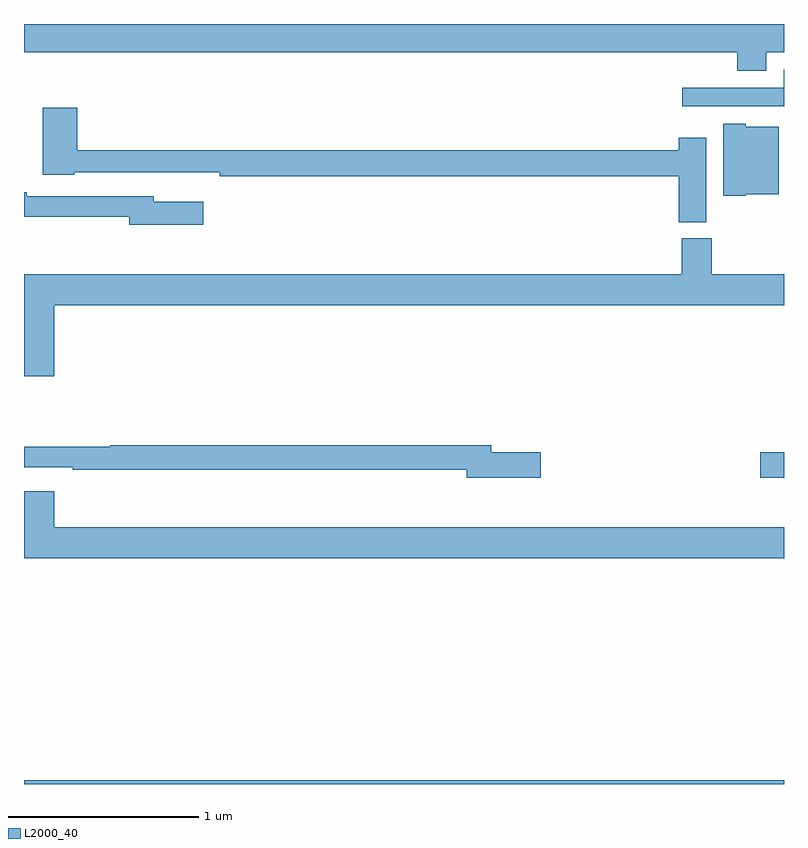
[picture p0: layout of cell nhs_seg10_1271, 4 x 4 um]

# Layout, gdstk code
import gdstk
lib = gdstk.Library(unit=1e-6, precision=1e-09)
def R(c, l, rs):  # rectangles x0, y0, x1, y1
    for r in rs: c.add(gdstk.rectangle(r[:2], r[2:], *l))
def P(c, l, *ps):  # polygons
    for p in ps: c.add(gdstk.Polygon(p, *l))
L2000_40 = (2000, 40)

nhs_seg10_1271 = lib.new_cell('nhs_seg10_1271')
R(nhs_seg10_1271, L2000_40, [(177,1260.5,181,1260.52), (180.876,1262.111,181,1262.246)])
P(nhs_seg10_1271, L2000_40, [(180.907,1264.352),(181,1264.352),(181,1264.5),(177,1264.5),(177,1264.352),(180.755,1264.352),(180.755,1264.253),(180.907,1264.253)],
  [(181,1264.26),(180.999,1264.26),(180.999,1264.164),(180.465,1264.164),(180.465,1264.068),(181,1264.068)],
  [(180.592,1263.901),(180.446,1263.901),(180.446,1263.836),(177.281,1263.836),(177.281,1264.06),(177.098,1264.06),(177.098,1263.707),(177.264,1263.707),(177.264,1263.72),(177.778,1263.72),(177.778,1263.719),(178.03,1263.719),(178.03,1263.7),(180.446,1263.7),(180.446,1263.457),(180.592,1263.457)],
  [(180.798,1263.605),(180.973,1263.605),(180.973,1263.958),(180.798,1263.958),(180.798,1263.976),(180.68,1263.976),(180.68,1263.596),(180.798,1263.596)],
  [(177.943,1263.565),(177.682,1263.565),(177.682,1263.594),(177.014,1263.594),(177.014,1263.614),(177,1263.614),(177,1263.486),(177.554,1263.486),(177.554,1263.443),(177.943,1263.443)],
  [(177.16,1263.02),(181,1263.02),(181,1263.184),(180.621,1263.184),(180.621,1263.372),(180.461,1263.372),(180.461,1263.184),(177,1263.184),(177,1262.646),(177.16,1262.646)],
  [(179.719,1262.246),(179.458,1262.246),(179.458,1262.282),(177.454,1262.282),(177.454,1262.275),(177,1262.275),(177,1262.166),(177.256,1262.166),(177.256,1262.154),(179.33,1262.154),(179.33,1262.111),(179.719,1262.111)],
  [(181,1261.852),(177.16,1261.852),(177.16,1262.041),(177,1262.041),(177,1261.688),(181,1261.688)])

lib.write_gds('nhs_seg10_1271.gds')
